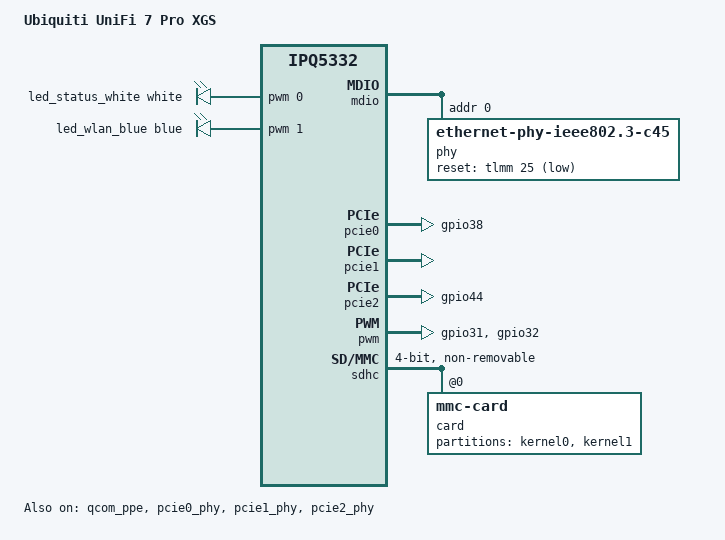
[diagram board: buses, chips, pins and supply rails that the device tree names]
/dts-v1/;

#include "ipq5332-common.dtsi"

/ {
	model = "Ubiquiti UniFi 7 Pro XGS";
	compatible = "ubnt,u7-pro-xgs", "qcom,ipq5332";

	aliases {
		ethernet1 = &xgmac1;
		led-boot = &led_status_white;
		led-failsafe = &led_status_white;
		led-running = &led_status_white;
		led-upgrade = &led_status_white;
	};

	chosen {
		bootargs = "console=ttyMSM0,115200n8";
		bootargs-append = " root=/dev/fit0 rootwait";
		rootdisk = <&kernel0>;
	};

	pwmleds {
		compatible = "pwm-leds";

		led_status_white: led-0 {
			color = <LED_COLOR_ID_WHITE>;
			function = LED_FUNCTION_STATUS;
			pwms = <&pwm 0 1966050 0>;
			max-brightness = <255>;
		};

		led_wlan_blue: led-1 {
			color = <LED_COLOR_ID_BLUE>;
			function = LED_FUNCTION_WLAN;
			pwms = <&pwm 1 1966050 0>;
			max-brightness = <255>;
		};
	};
};

&qcom_ppe {
	status = "okay";

	ethernet-ports {
		#address-cells = <1>;
		#size-cells = <0>;

		xgmac1: port@1 {
			reg = <1>;
			phy-mode = "usxgmii";
			managed = "in-band-status";
			label = "lan";
			phy-handle = <&phy>;
			pcs-handle = <&pcs0_ch0>;
			local-mac-address = [00 00 00 00 00 00];
			clocks = <&nsscc NSS_CC_PORT1_MAC_CLK>,
				 <&nsscc NSS_CC_PORT1_RX_CLK>,
				 <&nsscc NSS_CC_PORT1_TX_CLK>;
			clock-names = "mac",
				      "rx",
				      "tx";
			resets = <&nsscc NSS_CC_PORT1_MAC_CLK_ARES>,
				 <&nsscc NSS_CC_PORT1_RX_CLK_ARES>,
				 <&nsscc NSS_CC_PORT1_TX_CLK_ARES>;
			reset-names = "mac",
				      "rx",
				      "tx";
		};
	};
};

&mdio {
	status = "okay";

	pinctrl-names = "default";
	pinctrl-0 = <&mdio1_pins>;

	phy: ethernet-phy@0 {
		compatible = "ethernet-phy-ieee802.3-c45";
		reg = <0x00>;
		reset-gpios = <&tlmm 25 GPIO_ACTIVE_LOW>;
	};
};

&pcie0 {
	status = "okay";

	perst-gpio = <&tlmm 38 GPIO_ACTIVE_LOW>;
	wake-gpios = <&tlmm 39 GPIO_ACTIVE_LOW>;
	pinctrl-names = "default";
	pinctrl-0 = <&pcie0_pins>;
};

&pcie1 {
	status = "okay";

	perst-gpio = <&tlmm 47 GPIO_ACTIVE_LOW>;
	wake-gpios = <&tlmm 48 GPIO_ACTIVE_LOW>;
	pinctrl-names = "default";
	pinctrl-0 = <&pcie1_pins>;

	pcie@0 {
		wifi@0,0 {
			reg = <0x00000000 0 0 0 0>;
			qcom,board-id = <21>;

			qcom,wsi-controller;

			ports {
				#address-cells = <1>;
				#size-cells = <0>;

				port@0 {
					reg = <0>;
					wifi_pcie1_tx: endpoint {
						remote-endpoint = <&wifi_pcie2_rx>;
					};
				};

				port@1 {
					reg = <1>;
					wifi_pcie1_rx: endpoint {
						remote-endpoint = <&wifi_pcie2_tx>;
					};
				};
			};
		};
	};
};

&pcie2 {
	status = "okay";

	perst-gpio = <&tlmm 44 GPIO_ACTIVE_LOW>;
	wake-gpios = <&tlmm 45 GPIO_ACTIVE_LOW>;
	pinctrl-names = "default";
	pinctrl-0 = <&pcie2_pins>;

	pcie@0 {
		wifi@0,0 {
			reg = <0x00000000 0 0 0 0>;
			qcom,board-id = <4101>;

			ports {
				#address-cells = <1>;
				#size-cells = <0>;

				port@0 {
					reg = <0>;
					wifi_pcie2_tx: endpoint {
						remote-endpoint = <&wifi_pcie1_rx>;
					};
				};

				port@1 {
					reg = <1>;
					wifi_pcie2_rx: endpoint {
						remote-endpoint = <&wifi_pcie1_tx>;
					};
				};
			};
		};
	};
};

&pcie0_phy {
	status = "okay";
};

&pcie1_phy {
	reg = <0x004b1000 0x800>;
	num-lanes = <1>;

	phy-ahb-shared-reset;
	qti,multiplexed-phy;
	qti,phy-mux-regs = <&tcsr 0x10544>;

	status = "okay";
};

&pcie2_phy {
	phy-ahb-shared-reset;
	qti,multiplexed-phy;
	qti,phy-mux-regs = <&tcsr 0x10544>;

	status = "okay";
};

&pwm {
	pinctrl-names = "default";
	pinctrl-0 = <&pwm_pins>;
	status = "okay";
};

&sdhc {
	#address-cells = <1>;
	#size-cells = <0>;
	bus-width = <4>;
	max-frequency = <192000000>;
	mmc-ddr-1_8v;
	mmc-hs200-1_8v;
	non-removable;
	pinctrl-0 = <&sdc_pins>;
	pinctrl-names = "default";
	status = "okay";

	card@0 {
		compatible = "mmc-card";
		reg = <0>;

		block {
			compatible = "block-device";

			partitions {
				kernel0: block-partition-kernel0 {
					partname = "kernel0";
				};

				kernel1: block-partition-kernel1 {
					partname = "kernel1";
				};
			};
		};
	};
};

&tlmm {
	pcie0_pins: pci0-pinmux {
		pins = "gpio38";
		function = "gpio";
		drive-strength = <8>;
		bias-pull-up;
		output-high;
	};

	pcie2_pins: pci2-pinmux {
		pins = "gpio44";
		function = "gpio";
		drive-strength = <8>;
		bias-pull-up;
		output-high;
	};

	pwm_pins: pwm_pinmux {
		pins = "gpio31", "gpio32";
		function = "pwm1";
		drive-strength = <8>;
	};
};
